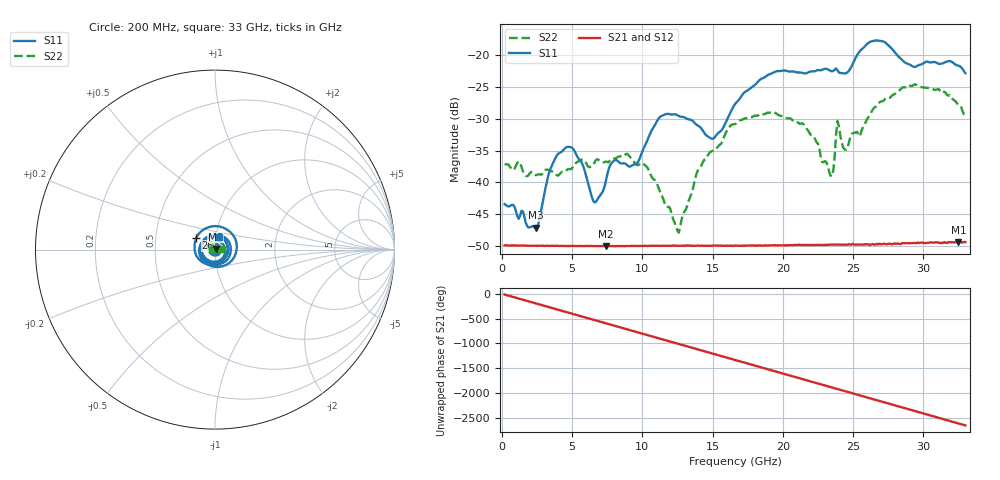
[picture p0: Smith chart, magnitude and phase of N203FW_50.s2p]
# GHZ S RI R 50
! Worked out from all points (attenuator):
!   329 points, 200 MHz to 33 GHz, reference 50 ohm
!   highest |S21| = -49.42 dB at 32.5 GHz (marker M1); lowest = -50.1 dB at 7.4 GHz (marker M2)
!   lowest |S11| = -47.2 dB at 2.4 GHz (marker M3), VSWR 1.01, Z = 50.3 + j0.288 ohm
!   |S11| at or under -10 dB: start of sweep to end of sweep
!   |S22| runs from -47.9 to -24.5 dB; largest |S21 - S12| = 8.8e-05
!   S11 on the Smith chart (normalised r, x): 200 MHz: 1.01, +0.00; 26 GHz: 0.80, +0.11; 33 GHz: 1.03, +0.14
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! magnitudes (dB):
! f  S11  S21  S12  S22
! 200 MHz  -43.4  -50.0  -49.9  -37.1
! 2.4 GHz  -47.2  -50.0  -50.0  -38.9
! 3.9 GHz  -35.8  -50.0  -50.0  -38.9
! 5.7 GHz  -37.0  -50.1  -50.0  -36.5
! 6.6 GHz  -43.2  -50.1  -50.1  -36.9
! 7.4 GHz  -39.9  -50.1  -50.0  -36.7
! 9.7 GHz  -36.8  -50.1  -50.0  -37.3
! 11.2 GHz  -29.8  -50.0  -50.0  -41.2
! 12.6 GHz  -29.6  -50.0  -50.0  -47.9
! 13.9 GHz  -31.0  -50.0  -50.0  -38.4
! 15 GHz  -33.2  -50.0  -50.0  -35.0
! 16.6 GHz  -27.7  -50.0  -50.0  -30.8
! 19.3 GHz  -22.7  -49.9  -49.9  -29.0
! 22.1 GHz  -22.5  -49.9  -49.9  -32.6
! 23.5 GHz  -22.5  -49.9  -49.8  -39.1
! 23.9 GHz  -22.4  -49.9  -49.9  -30.3
! 24.5 GHz  -22.8  -49.8  -49.8  -34.9
! 26 GHz  -18.2  -49.8  -49.8  -30.1
! 27.6 GHz  -18.6  -49.7  -49.7  -26.7
! 29.4 GHz  -21.8  -49.6  -49.6  -24.5
! 32.5 GHz  -21.6  -49.4  -49.4  -27.8
! 33 GHz  -22.8  -49.4  -49.5  -29.4
